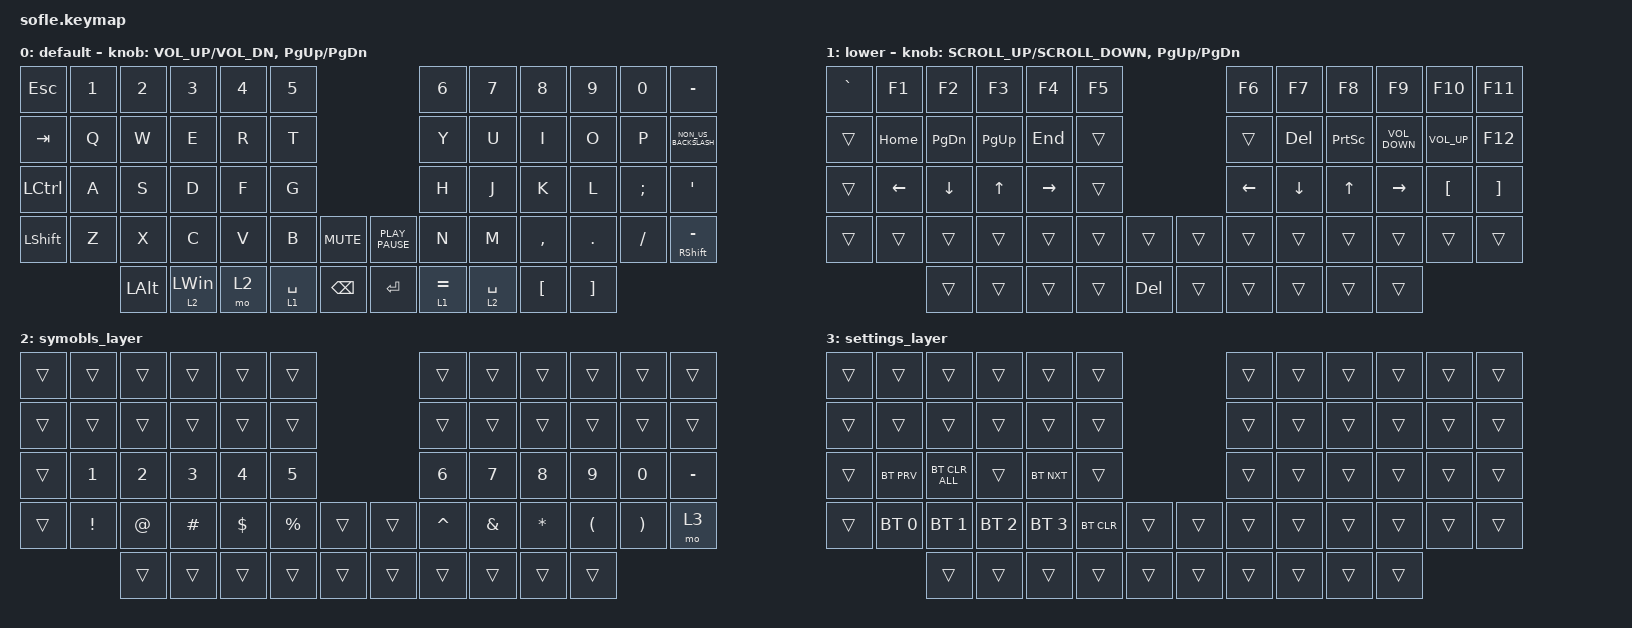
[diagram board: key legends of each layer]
/*
 * Copyright (c) 2020 The ZMK Contributors
 *
 * SPDX-License-Identifier: MIT
 */

#include <behaviors.dtsi>
#include <dt-bindings/zmk/bt.h>
#include <dt-bindings/zmk/keys.h>

#define BASE 0
#define LOWER 1
#define RAISE 2
#define ADJUST 3

/ {
    // Activate ADJUST layer by pressing raise and lower

    conditional_layers { compatible = "zmk,conditional-layers"; };

    keymap {
        compatible = "zmk,keymap";

        default_layer {
            label = "default";

            // ------------------------------------------------------------------------------------------------------------
            // |   `   |  1  |  2  |  3   |  4   |  5   |                   |  6   |  7    |  8    |  9   |   0   |       |
            // |  ESC  |  Q  |  W  |  E   |  R   |  T   |                   |  Y   |  U    |  I    |  O   |   P   | BKSPC |
            // |  TAB  |  A  |  S  |  D   |  F   |  G   |                   |  H   |  J    |  K    |  L   |   ;   |   '   |
            // | SHIFT |  Z  |  X  |  C   |  V   |  B   |  MUTE  |  |       |  N   |  M    |  ,    |  .   |   /   | SHIFT |
            //               | GUI | ALT  | CTRL | LOWER|  ENTER |  | SPACE | RAISE| CTRL  | ALT   | GUI  |

            bindings = <
&kp ESCAPE        &kp N1  &kp N2        &kp N3          &kp N4  &kp N5                                          &kp N6       &kp N7       &kp N8            &kp N9             &kp N0    &kp MINUS
&kp TAB           &kp Q   &kp W         &kp E           &kp R   &kp T                                           &kp Y        &kp U        &kp I             &kp O              &kp P     &kp NON_US_BACKSLASH
&kp LEFT_CONTROL  &kp A   &kp S         &kp D           &kp F   &kp G                                           &kp H        &kp J        &kp K             &kp L              &kp SEMI  &kp SQT
&kp LSHFT         &kp Z   &kp X         &kp C           &kp V   &kp B        &kp C_MUTE       &kp K_PLAY_PAUSE  &kp N        &kp M        &kp COMMA         &kp DOT            &kp FSLH  &mt RIGHT_SHIFT MINUS
                          &kp LEFT_ALT  &lt 2 LEFT_WIN  &mo 2   &lt 1 SPACE  &kp BACKSPACE    &kp ENTER         &lt 1 EQUAL  &lt 2 SPACE  &kp LEFT_BRACKET  &kp RIGHT_BRACKET
            >;

            sensor-bindings = <&inc_dec_kp C_VOL_UP C_VOL_DN &inc_dec_kp PG_UP PG_DN>;
        };

        lower_layer {
            label = "lower";

            // TODO: Some binds are waiting for shifted keycode support.
            // ------------------------------------------------------------------------------------------------------------
            // |       |  F1 |  F2 |  F3  |  F4  |  F5  |                   |  F6  |  F7   |  F8   |  F9  |  F10  |  F11  |
            // |   `   |  1  |  2  |  3   |  4   |  5   |                   |  6   |  7    |  8    |  9   |   0   |  F12  |
            // |       |  !  |  @  |  #   |  $   |  %   |                   |  ^   |  &    |  *    |  (   |   )   |   |   |
            // |       |  =  |  -  |  +   |  {   |  }   |        |  |       |  [   |  ]    |  ;    |  :   |   \   |       |
            //               |     |      |      |      |        |  |       |      |       |       |      |

            bindings = <
&kp GRAVE  &kp F1    &kp F2         &kp F3        &kp F4     &kp F5                     &kp F6    &kp F7          &kp F8           &kp F9             &kp F10           &kp F11
&trans     &kp HOME  &kp PAGE_DOWN  &kp PAGE_UP   &kp END    &trans                     &trans    &kp DEL         &kp PRINTSCREEN  &kp C_VOLUME_DOWN  &kp C_VOLUME_UP   &kp F12
&trans     &kp LEFT  &kp DOWN       &kp UP_ARROW  &kp RIGHT  &trans                     &kp LEFT  &kp DOWN_ARROW  &kp UP_ARROW     &kp RIGHT          &kp LEFT_BRACKET  &kp RIGHT_BRACKET
&trans     &trans    &trans         &trans        &trans     &trans  &trans     &trans  &trans    &trans          &trans           &trans             &trans            &trans
                     &trans         &trans        &trans     &trans  &kp DEL    &trans  &trans    &trans          &trans           &trans
            >;

            sensor-bindings =
                <&inc_dec_kp K_SCROLL_UP K_SCROLL_DOWN>,
                <&inc_dec_kp PG_UP PG_DN>;
        };

        symobls_layer {
            bindings = <
&trans  &trans           &trans       &trans    &trans      &trans                         &trans     &trans         &trans        &trans                &trans                 &trans
&trans  &trans           &trans       &trans    &trans      &trans                         &trans     &trans         &trans        &trans                &trans                 &trans
&trans  &kp N1           &kp N2       &kp N3    &kp N4      &kp N5                         &kp N6     &kp N7         &kp N8        &kp N9                &kp N0                 &kp MINUS
&trans  &kp EXCLAMATION  &kp AT_SIGN  &kp HASH  &kp DOLLAR  &kp PERCENT  &trans    &trans  &kp CARET  &kp AMPERSAND  &kp ASTERISK  &kp LEFT_PARENTHESIS  &kp RIGHT_PARENTHESIS  &mo 3
                         &trans       &trans    &trans      &trans       &trans    &trans  &trans     &trans         &trans        &trans
            >;
        };

        settings_layer {
            bindings = <
&trans  &trans        &trans          &trans        &trans        &trans                        &trans  &trans  &trans  &trans  &trans  &trans
&trans  &trans        &trans          &trans        &trans        &trans                        &trans  &trans  &trans  &trans  &trans  &trans
&trans  &bt BT_PRV    &bt BT_CLR_ALL  &trans        &bt BT_NXT    &trans                        &trans  &trans  &trans  &trans  &trans  &trans
&trans  &bt BT_SEL 0  &bt BT_SEL 1    &bt BT_SEL 2  &bt BT_SEL 3  &bt BT_CLR  &trans    &trans  &trans  &trans  &trans  &trans  &trans  &trans
                      &trans          &trans        &trans        &trans      &trans    &trans  &trans  &trans  &trans  &trans
            >;
        };
    };
};
